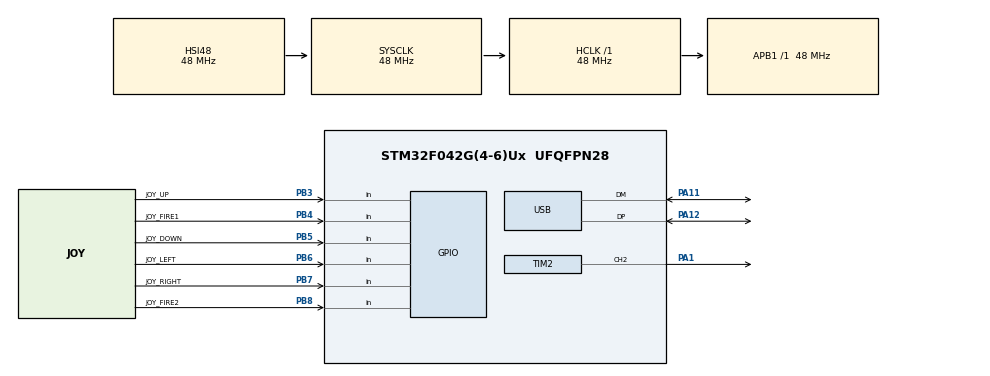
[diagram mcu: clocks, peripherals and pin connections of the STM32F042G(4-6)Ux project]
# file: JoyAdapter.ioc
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Mcu.Family=STM32F0
Mcu.Name=STM32F042G(4-6)Ux
Mcu.Package=UFQFPN28
NVIC.TIM14_IRQn=true\:0\:0\:false\:false\:true\:true\:true
NVIC.USB_IRQn=true\:0\:0\:false\:false\:true\:false\:true
PA1.Signal=S_TIM2_CH2
PA11.Mode=Device
PA11.Signal=USB_DM
PA12.Mode=Device
PA12.Signal=USB_DP
PA13.Mode=Serial_Wire
PA13.Signal=SYS_SWDIO
PA14.Mode=Serial_Wire
PA14.Signal=SYS_SWCLK
PB3.GPIO_Label=JOY_UP
PB3.GPIO_PuPd=GPIO_PULLUP
PB3.Signal=GPIO_Input
PB4.GPIO_Label=JOY_FIRE1
PB4.GPIO_PuPd=GPIO_PULLUP
PB4.Signal=GPIO_Input
PB5.GPIO_Label=JOY_DOWN
PB5.GPIO_PuPd=GPIO_PULLUP
PB5.Signal=GPIO_Input
PB6.GPIO_Label=JOY_LEFT
PB6.GPIO_PuPd=GPIO_PULLUP
PB6.Signal=GPIO_Input
PB7.GPIO_Label=JOY_RIGHT
PB7.GPIO_PuPd=GPIO_PULLUP
PB7.Signal=GPIO_Input
PB8.GPIO_Label=JOY_FIRE2
PB8.GPIO_PuPd=GPIO_PULLUP
PB8.Signal=GPIO_Input
ProjectManager.HeapSize=0x200
ProjectManager.StackSize=0x400
ProjectManager.TargetToolchain=Other Toolchains (GPDSC)
RCC.AHBFreq_Value=48000000
RCC.APB1Freq_Value=48000000
RCC.APB1TimFreq_Value=48000000
RCC.HCLKFreq_Value=48000000
RCC.SYSCLKFreq_VALUE=48000000
RCC.SYSCLKSource=RCC_SYSCLKSOURCE_HSI48
SH.S_TIM2_CH2.0=TIM2_CH2,PWM Generation2 CH2
TIM14.Period=99
TIM14.Prescaler=4799
TIM2.Channel-PWM\ Generation2\ CH2=TIM_CHANNEL_2
TIM2.Period=999
TIM2.Prescaler=479
TIM2.Pulse-PWM\ Generation2\ CH2=500
USB_DEVICE.CLASS_NAME_FS=CUSTOM_HID
USB_DEVICE.INTERFACE_STRING_CUSTOMHID_FS=Arcade Joystick Adapter
USB_DEVICE.MANUFACTURER_STRING=Virual Technologies
USB_DEVICE.PRODUCT_STRING_CUSTOMHID_FS=Arcade Joystick Dongle
USB_DEVICE.USBD_CUSTOMHID_OUTREPORT_BUF_SIZE=3
USB_DEVICE.USBD_CUSTOM_HID_REPORT_DESC_SIZE=50
USB_DEVICE.VirtualMode=CustomHid
USB_DEVICE.VirtualModeFS=Custom_Hid_FS
VP_RCC_USB.Mode=CRS SYNC Source USB
VP_SYS_VS_PINREMAP.Mode=PINREMAP
VP_TIM14_VS_ClockSourceINT.Mode=Enable_Timer
VP_USB_DEVICE_VS_USB_DEVICE_CUSTOM_HID_FS.Mode=CUSTOM_HID_FS
board=custom

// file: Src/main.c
/* USER CODE BEGIN Header */
/**
  ******************************************************************************
  * @file           : main.c
  * @brief          : Main program body
  ******************************************************************************
  * @attention
  *
  * <h2><center>&copy; Copyright (c) 2019 STMicroelectronics.
  * All rights reserved.</center></h2>
  *
  * This software component is licensed by ST under Ultimate Liberty license
  * SLA0044, the "License"; You may not use this file except in compliance with
  * the License. You may obtain a copy of the License at:
  *                             www.st.com/SLA0044
  *
  ******************************************************************************
  */
/* USER CODE END Header */

#include "main.h"
#include "usb_device.h"

/* USER CODE BEGIN Includes */
#include "usbd_custom_hid_if.h"
/* USER CODE END Includes */

TIM_HandleTypeDef htim2;
TIM_HandleTypeDef htim14;

/* USER CODE BEGIN PV */
volatile int flag = 0;

/* USER CODE END PV */

void SystemClock_Config(void);
static void MX_GPIO_Init(void);
static void MX_TIM2_Init(void);
static void MX_TIM14_Init(void);

/* USER CODE BEGIN 0 */
void HAL_TIM_PeriodElapsedCallback(TIM_HandleTypeDef* htim)
{
   flag = 1;
}
/* USER CODE END 0 */

int main(void)
{

  /* MCU Configuration--------------------------------------------------------*/

  /* Reset of all peripherals, Initializes the Flash interface and the Systick. */
  HAL_Init();

  /* Configure the system clock */
  SystemClock_Config();

  /* Initialize all configured peripherals */
  MX_GPIO_Init();
  MX_TIM2_Init();
  MX_TIM14_Init();
  MX_USB_DEVICE_Init();
  /* USER CODE BEGIN 2 */

   int buttons = GPIOB->IDR & (JOY_LEFT_Pin | JOY_RIGHT_Pin | JOY_UP_Pin | JOY_DOWN_Pin | JOY_FIRE1_Pin | JOY_FIRE2_Pin);

   uint8_t report_data[USBD_CUSTOMHID_OUTREPORT_BUF_SIZE];
   //int delay = 75;
   HAL_TIM_PWM_Start(&htim2, TIM_CHANNEL_2);
   HAL_TIM_Base_Start_IT(&htim14);
   int pwm = 999;
  /* USER CODE END 2 */

  /* Infinite loop */
  /* USER CODE BEGIN WHILE */
   while (1)
   {
      if (flag == 0) continue;
      flag = 0;      // 100x per sec

      if (pwm > 80) pwm -= 80; else pwm = 0;
      TIM2->CCR2 = pwm;

      int bs2 = GPIOB->IDR & (JOY_LEFT_Pin | JOY_RIGHT_Pin | JOY_UP_Pin | JOY_DOWN_Pin | JOY_FIRE1_Pin | JOY_FIRE2_Pin);
      if (bs2 != buttons)
      {
         buttons = bs2;
         report_data[0] = ((buttons & JOY_FIRE1_Pin) == 0 ? 1 : 0) | ((buttons & JOY_FIRE2_Pin) == 0 ? 2 : 0);
         report_data[1] = (buttons & JOY_LEFT_Pin) == 0 ? -127 : (buttons & JOY_RIGHT_Pin) == 0 ? 127 : 0;
         report_data[2] = (buttons & JOY_UP_Pin) == 0 ? -127 : (buttons & JOY_DOWN_Pin) == 0 ? 127 : 0;
         HID_SendReport(report_data);

         if (pwm < 750) pwm += 250; else pwm = 1000;
         TIM2->CCR2 = pwm;
      }
    /* USER CODE END WHILE */

   }
}

void SystemClock_Config(void)
{
  RCC_OscInitTypeDef RCC_OscInitStruct = {0};
  RCC_ClkInitTypeDef RCC_ClkInitStruct = {0};
  RCC_PeriphCLKInitTypeDef PeriphClkInit = {0};
  RCC_CRSInitTypeDef RCC_CRSInitStruct = {0};

  /** Initializes the CPU, AHB and APB busses clocks
  */
  RCC_OscInitStruct.OscillatorType = RCC_OSCILLATORTYPE_HSI48;
  RCC_OscInitStruct.HSI48State = RCC_HSI48_ON;
  RCC_OscInitStruct.PLL.PLLState = RCC_PLL_NONE;
  if (HAL_RCC_OscConfig(&RCC_OscInitStruct) != HAL_OK)
  {
    Error_Handler();
  }
  /** Initializes the CPU, AHB and APB busses clocks
  */
  RCC_ClkInitStruct.ClockType = RCC_CLOCKTYPE_HCLK|RCC_CLOCKTYPE_SYSCLK
                              |RCC_CLOCKTYPE_PCLK1;
  RCC_ClkInitStruct.SYSCLKSource = RCC_SYSCLKSOURCE_HSI48;
  RCC_ClkInitStruct.AHBCLKDivider = RCC_SYSCLK_DIV1;
  RCC_ClkInitStruct.APB1CLKDivider = RCC_HCLK_DIV1;

  if (HAL_RCC_ClockConfig(&RCC_ClkInitStruct, FLASH_LATENCY_1) != HAL_OK)
  {
    Error_Handler();
  }
  PeriphClkInit.PeriphClockSelection = RCC_PERIPHCLK_USB;
  PeriphClkInit.UsbClockSelection = RCC_USBCLKSOURCE_HSI48;

  if (HAL_RCCEx_PeriphCLKConfig(&PeriphClkInit) != HAL_OK)
  {
    Error_Handler();
  }
  /** Enable the SYSCFG APB clock
  */
  __HAL_RCC_CRS_CLK_ENABLE();
  /** Configures CRS
  */
  RCC_CRSInitStruct.Prescaler = RCC_CRS_SYNC_DIV1;
  RCC_CRSInitStruct.Source = RCC_CRS_SYNC_SOURCE_USB;
  RCC_CRSInitStruct.Polarity = RCC_CRS_SYNC_POLARITY_RISING;
  RCC_CRSInitStruct.ReloadValue = __HAL_RCC_CRS_RELOADVALUE_CALCULATE(48000000,1000);
  RCC_CRSInitStruct.ErrorLimitValue = 34;
  RCC_CRSInitStruct.HSI48CalibrationValue = 32;

  HAL_RCCEx_CRSConfig(&RCC_CRSInitStruct);
}

static void MX_TIM2_Init(void)
{

  TIM_MasterConfigTypeDef sMasterConfig = {0};
  TIM_OC_InitTypeDef sConfigOC = {0};

  htim2.Instance = TIM2;
  htim2.Init.Prescaler = 479;
  htim2.Init.CounterMode = TIM_COUNTERMODE_UP;
  htim2.Init.Period = 999;
  htim2.Init.ClockDivision = TIM_CLOCKDIVISION_DIV1;
  htim2.Init.AutoReloadPreload = TIM_AUTORELOAD_PRELOAD_DISABLE;
  if (HAL_TIM_PWM_Init(&htim2) != HAL_OK)
  {
    Error_Handler();
  }
  sMasterConfig.MasterOutputTrigger = TIM_TRGO_RESET;
  sMasterConfig.MasterSlaveMode = TIM_MASTERSLAVEMODE_DISABLE;
  if (HAL_TIMEx_MasterConfigSynchronization(&htim2, &sMasterConfig) != HAL_OK)
  {
    Error_Handler();
  }
  sConfigOC.OCMode = TIM_OCMODE_PWM1;
  sConfigOC.Pulse = 500;
  sConfigOC.OCPolarity = TIM_OCPOLARITY_HIGH;
  sConfigOC.OCFastMode = TIM_OCFAST_DISABLE;
  if (HAL_TIM_PWM_ConfigChannel(&htim2, &sConfigOC, TIM_CHANNEL_2) != HAL_OK)
  {
    Error_Handler();
  }
  HAL_TIM_MspPostInit(&htim2);

}

static void MX_TIM14_Init(void)
{

  htim14.Instance = TIM14;
  htim14.Init.Prescaler = 4799;
  htim14.Init.CounterMode = TIM_COUNTERMODE_UP;
  htim14.Init.Period = 99;
  htim14.Init.ClockDivision = TIM_CLOCKDIVISION_DIV1;
  htim14.Init.AutoReloadPreload = TIM_AUTORELOAD_PRELOAD_DISABLE;
  if (HAL_TIM_Base_Init(&htim14) != HAL_OK)
  {
    Error_Handler();
  }

}

static void MX_GPIO_Init(void)
{
  GPIO_InitTypeDef GPIO_InitStruct = {0};

  /* GPIO Ports Clock Enable */
  __HAL_RCC_GPIOB_CLK_ENABLE();
  __HAL_RCC_GPIOA_CLK_ENABLE();

  /*Configure GPIO pins : JOY_FIRE2_Pin JOY_UP_Pin JOY_FIRE1_Pin JOY_DOWN_Pin
                           JOY_LEFT_Pin JOY_RIGHT_Pin */
  GPIO_InitStruct.Pin = JOY_FIRE2_Pin|JOY_UP_Pin|JOY_FIRE1_Pin|JOY_DOWN_Pin
                          |JOY_LEFT_Pin|JOY_RIGHT_Pin;
  GPIO_InitStruct.Mode = GPIO_MODE_INPUT;
  GPIO_InitStruct.Pull = GPIO_PULLUP;
  HAL_GPIO_Init(GPIOB, &GPIO_InitStruct);

}

void Error_Handler(void)
{
}

/************************ (C) COPYRIGHT STMicroelectronics *****END OF FILE****/
